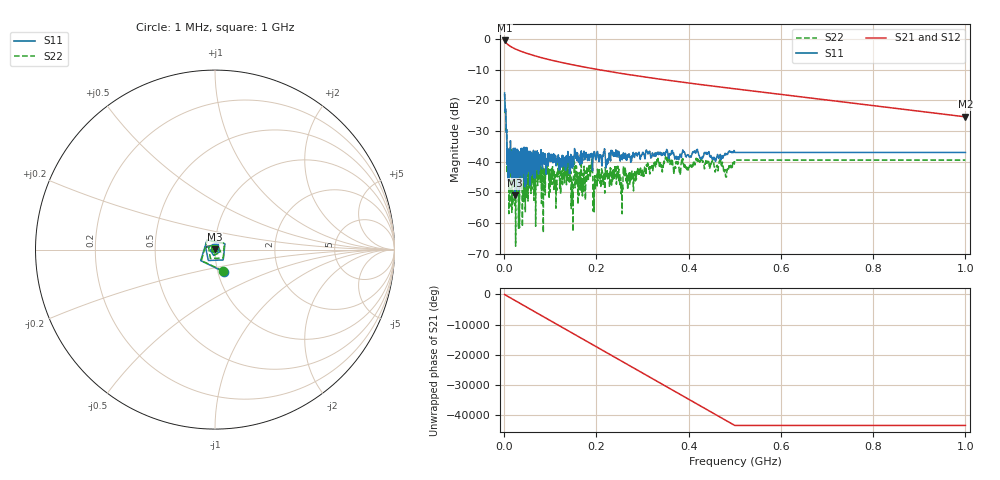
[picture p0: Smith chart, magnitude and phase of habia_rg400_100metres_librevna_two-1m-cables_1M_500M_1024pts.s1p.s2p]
# GHZ S RI R 50.000000000000
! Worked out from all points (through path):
!   1025 points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, 1 MHz to 1 GHz, reference 50 ohm
!   highest |S21| = -0.50 dB at 1 MHz (marker M1); lowest = -25.4 dB at 1 GHz (marker M2)
!   lowest |S11| = -50.9 dB at 22.95 MHz (marker M3), VSWR 1.01, Z = 49.7 + j0.0919 ohm
!   |S11| at or under -10 dB: start of sweep to end of sweep
!   |S22| runs from -67.5 to -18.0 dB; largest |S21 - S12| = 0.0079
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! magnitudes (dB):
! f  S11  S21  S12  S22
! 1 MHz  -17.6  -0.5  -0.5  -18.0
! 8.804 MHz  -43.3  -1.9  -1.9  -37.1
! 22.95 MHz  -50.9  -3.2  -3.2  -54.3
! 75.63 MHz  -37.6  -5.9  -5.9  -38.8
! 86.85 MHz  -40.1  -6.3  -6.4  -48.4
! 92.22 MHz  -39.1  -6.5  -6.6  -40.5
! 112.2 MHz  -40.0  -7.3  -7.3  -55.1
! 117.1 MHz  -38.1  -7.4  -7.4  -39.8
! 140 MHz  -38.7  -8.2  -8.2  -41.5
! 147.3 MHz  -40.9  -8.4  -8.4  -52.1
! 152.7 MHz  -35.7  -8.6  -8.6  -41.0
! 167.8 MHz  -38.0  -9.0  -9.0  -44.8
! 189.8 MHz  -37.3  -9.6  -9.6  -39.4
! 195.1 MHz  -36.7  -9.8  -9.8  -56.3
! 204.4 MHz  -38.9  -10.0  -10.0  -43.4
! 240 MHz  -37.3  -10.9  -10.9  -41.6
! 255.1 MHz  -37.8  -11.3  -11.3  -50.5
! 260.5 MHz  -38.3  -11.4  -11.4  -42.3
! 334.2 MHz  -37.1  -13.0  -13.0  -39.8
! 480 MHz  -37.5  -15.9  -15.9  -44.6
! 500 MHz  -37.0  -16.2  -16.3  -39.5
! 1 GHz  -37.0  -25.4  -25.4  -39.5
